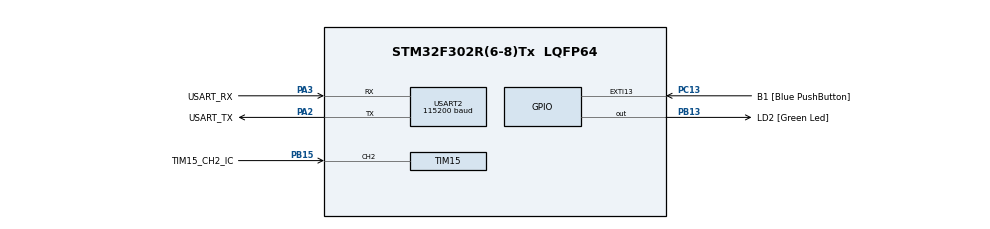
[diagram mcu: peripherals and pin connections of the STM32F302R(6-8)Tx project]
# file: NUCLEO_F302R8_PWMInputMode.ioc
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Mcu.Family=STM32F3
Mcu.Name=STM32F302R(6-8)Tx
Mcu.Package=LQFP64
NVIC.PriorityGroup=NVIC_PRIORITYGROUP_0
NVIC.TIM1_BRK_TIM15_IRQn=true\:0\:0\:false\:false\:false\:true\:true
PA13.GPIO_Label=TMS
PA13.Mode=Trace_Asynchronous_SW
PA13.Signal=SYS_JTMS-SWDIO
PA14.GPIO_Label=TCK
PA14.Mode=Trace_Asynchronous_SW
PA14.Signal=SYS_JTCK-SWCLK
PA2.GPIO_Label=USART_TX
PA2.GPIO_Mode=GPIO_MODE_AF_PP
PA2.GPIO_PuPd=GPIO_NOPULL
PA2.GPIO_Speed=GPIO_SPEED_FREQ_LOW
PA2.Mode=Asynchronous
PA2.Signal=USART2_TX
PA3.GPIO_Label=USART_RX
PA3.GPIO_Mode=GPIO_MODE_AF_PP
PA3.GPIO_PuPd=GPIO_NOPULL
PA3.GPIO_Speed=GPIO_SPEED_FREQ_LOW
PA3.Mode=Asynchronous
PA3.Signal=USART2_RX
PB13.GPIO_Label=LD2 [Green Led]
PB13.Signal=GPIO_Output
PB15.GPIO_Label=TIM15_CH2_IC
PB15.GPIO_Speed=GPIO_SPEED_FREQ_HIGH
PB15.Signal=S_TIM15_CH2
PB3.GPIO_Label=SWO
PB3.Mode=Trace_Asynchronous_SW
PB3.Signal=SYS_JTDO-TRACESWO
PC13.GPIO_Label=B1 [Blue PushButton]
PC13.GPIO_ModeDefaultEXTI=GPIO_MODE_IT_FALLING
PC13.GPIO_PuPd=GPIO_PULLUP
PC13.Signal=GPXTI13
PC14\ -\ OSC32_IN.Mode=LSE-External-Oscillator
PC14\ -\ OSC32_IN.Signal=RCC_OSC32_IN
PC15\ -\ OSC32_OUT.Mode=LSE-External-Oscillator
PC15\ -\ OSC32_OUT.Signal=RCC_OSC32_OUT
PF0-OSC_IN.Mode=HSE-External-Clock-Source
PF0-OSC_IN.Signal=RCC_OSC_IN
PF1-OSC_OUT.Signal=RCC_OSC_OUT
ProjectManager.HeapSize=0x200
ProjectManager.StackSize=0x400
ProjectManager.TargetToolchain=TrueSTUDIO
RCC.AHBFreq_Value=64000000
RCC.APB1CLKDivider=RCC_HCLK_DIV2
RCC.APB1Freq_Value=32000000
RCC.APB1TimFreq_Value=64000000
RCC.APB2Freq_Value=64000000
RCC.APB2TimFreq_Value=64000000
RCC.CortexFreq_Value=64000000
RCC.HCLKFreq_Value=64000000
RCC.HSE_VALUE=8000000
RCC.HSI_VALUE=8000000
RCC.PLLM=8
RCC.PLLMUL=RCC_PLL_MUL16
RCC.PLLN=336
RCC.PLLP=RCC_PLLP_DIV4
RCC.PLLQ=7
RCC.RCC_PLLsource_Clock_Source_FROM_HSE=RCC_HSE_PREDIV_DIV2
RCC.SYSCLKFreq_VALUE=64000000
RCC.SYSCLKSourceVirtual=RCC_SYSCLKSOURCE_PLLCLK
RCC.USBFreq_Value=64000000
SH.S_TIM15_CH2.0=TIM15_CH2,PWM_Input_2
TIM15.ClockDivision=TIM_CLOCKDIVISION_DIV1
TIM15.ICFilter_1=1
TIM15.ICFilter_2=1
TIM15.ICPolarity_1=TIM_INPUTCHANNELPOLARITY_FALLING
TIM15.Period=65535
TIM15.Prescaler=7
USART2.BaudRate=115200
USART2.VirtualMode-Asynchronous=VM_ASYNC
VP_TIM15_VS_ClockSourceINT.Mode=Internal
board=NUCLEO-F302R8

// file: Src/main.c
/* USER CODE BEGIN Header */
/*
 * @ 名称: main.c
 * @ 作者: SummerFalls
 * @ 日期: 2019-8-30
 * @ 版本: V1.0
 * @ 描述:
 * MIT License. Copyright (c) 2019 SummerFalls.
 */
/* USER CODE END Header */

#include "main.h"
#include "tim.h"
#include "usart.h"
#include "gpio.h"

/* USER CODE BEGIN Includes */
#include <stdint.h> /* 数据类型 */

#include <stdio.h>  /* 输入输出 */
#include <stdlib.h> /* 常用实用函数 */
#include <stddef.h> /* 常用定义 */
#include <string.h> /* 字符串处理 */
/* USER CODE END Includes */

/* USER CODE BEGIN PTD */
typedef struct {
    uint16_t TIM15_CC1;
    uint16_t TIM15_CC2;
} TIM_IT_CNT_TypeDef;

typedef struct {
    uint32_t Period;
    uint32_t PulseWidth;
    uint32_t DutyCycle;
    uint32_t Frequency;
    uint32_t CC1_OverflowCnt;
    uint32_t CC2_OverflowCnt;
} PWM_IN_TypeDef;
/* USER CODE END PTD */

/* USER CODE BEGIN PD */
#define F_SAMPLING 8000000UL /* PWM输入捕获采样频率_单位: Hz */
/* USER CODE END PD */

/* USER CODE BEGIN PV */
TIM_IT_CNT_TypeDef g_TIM_IT_CNT = { 0 };
PWM_IN_TypeDef g_PWM_IN = { 0 };
LL_RCC_ClocksTypeDef RCC_Clocks = { 0 };
uint32_t g_Cnt = 0;
/* USER CODE END PV */

void SystemClock_Config(void);

/* USER CODE BEGIN 0 */
void GTek_PWM_InputMode_Init(void) {
    LL_TIM_CC_EnableChannel(TIM15, LL_TIM_CHANNEL_CH1);
    LL_TIM_CC_EnableChannel(TIM15, LL_TIM_CHANNEL_CH2);

    LL_TIM_EnableCounter(TIM15);

//    LL_TIM_DisableIT_UPDATE(TIM15);
    LL_TIM_EnableIT_UPDATE(TIM15);
    LL_TIM_EnableIT_CC1(TIM15);
    LL_TIM_EnableIT_CC2(TIM15);
}

/*******************************************************************************
 * @name   : TIM1_BRK_TIM15_IRQHandler
 * @brief  : TIM1_刹车__TIM15_PWM输入模式
 * @param  : void
 * @retval : void
 * @note   :
 *           PWM 输入模式_TI信号输入引脚为TIM15_CH2
 *           CH1_Indirect_下降沿触发_PWM高电平脉宽
 *           CH2___Direct_上升沿触发_PWM周期
 *
 *           以下请参照参考手册
 *           654页: CKD[1:0]位(Clock Division)
 *           665页：ICxF[3:0]位(Input Capture x Filter)
 *
 *           TIMx_CLK = HCLK / (Prescaler + 1) = 64 MHz / (7 + 1) = 8 MHz
 *           f(DTS) = TIMx_CLK / CKD = 8 MHz / 1 = 8 MHz
 *           因为 ICxF[3:0] = 1，所以：
 *           1. (ICxF[3:0] = 0   ) f(sampling) = f(DTS)
 *              (ICxF[3:0] = 1~3 ) f(sampling) = TIMx_CLK
 *              (ICxF[3:0] = 4~15) f(sampling) = f(DTS) / Y
 *           2. 连续检测周期数 N = 2
 *
 *           采样周期宽度 = 1s / f(sampling) = 0.125 us
 *           连续采样周期宽度 = 采样周期宽度 * N = 0.25 us
 *           所以如果输入电平信号宽度小于 0.25 us 时，会被滤除，不被采样
 *
 *           假设输入的PWM占空比精度为：1%
 *           则必须满足输入的PWM_Period >= 0.25 us * 100 = 25 us
 *           即理论允许采样的最大PWM频率为：40 KHz
 *
 *           PWM_Freq = f(sampling) / g_PWM_IN.Period
 *           PWM_DutyCycle = g_PWM_IN.PulseWidth / g_PWM_IN.Period
 *
 *           测试输入PWM 8 Hz ~ 10 KHz
 *******************************************************************************/
void TIM1_BRK_TIM15_IRQHandler(void) {
    if ((LL_TIM_IsActiveFlag_UPDATE(TIM15) != RESET) && (LL_TIM_IsEnabledIT_UPDATE(TIM15) != RESET)) {
        LL_TIM_ClearFlag_UPDATE(TIM15);

//        printf("\r\n__UPDATE 溢出__\r\n");

        if (LL_TIM_IsActiveFlag_CC1(TIM15) != SET) {
            g_PWM_IN.CC1_OverflowCnt++;
        }

        if (LL_TIM_IsActiveFlag_CC2(TIM15) != SET) {
            g_PWM_IN.CC2_OverflowCnt++;
        }
    }

    if ((LL_TIM_IsActiveFlag_CC1(TIM15) != RESET) && (LL_TIM_IsEnabledIT_CC1(TIM15) != RESET)) {
        LL_TIM_ClearFlag_CC1(TIM15);

//        g_TIM_IT_CNT.TIM15_CC1++;
        g_PWM_IN.PulseWidth = (LL_TIM_IC_GetCaptureCH1(TIM15) + 1) + 65536 * g_PWM_IN.CC1_OverflowCnt;
    }

    if ((LL_TIM_IsActiveFlag_CC2(TIM15) != RESET) && (LL_TIM_IsEnabledIT_CC2(TIM15) != RESET)) {
        LL_TIM_ClearFlag_CC2(TIM15);

//        g_TIM_IT_CNT.TIM15_CC2++;

        g_PWM_IN.Period = (LL_TIM_IC_GetCaptureCH2(TIM15) + 1) + 65536 * g_PWM_IN.CC2_OverflowCnt;

        if (g_PWM_IN.PulseWidth <= g_PWM_IN.Period) {
            g_PWM_IN.DutyCycle = (g_PWM_IN.PulseWidth * 100) / g_PWM_IN.Period;
            g_PWM_IN.Frequency = F_SAMPLING / g_PWM_IN.Period;

//            printf("%lu 占空比：\t%lu %%\t频率：\t%lu Hz\r\n", g_Cnt++, g_PWM_IN.DutyCycle, g_PWM_IN.Frequency);
        } else {
            g_PWM_IN.DutyCycle = 0;
            g_PWM_IN.Frequency = 0;
        }

        g_PWM_IN.CC2_OverflowCnt = 0;
        g_PWM_IN.CC1_OverflowCnt = 0;
    }

    if ((LL_TIM_IsActiveFlag_CC1OVR(TIM15) != RESET) && (LL_TIM_IsEnabledIT_CC1(TIM15) != RESET)) {
        LL_TIM_ClearFlag_CC1OVR(TIM15);

        g_TIM_IT_CNT.TIM15_CC1++;

//        printf("\r\n__CC1 捕获溢出__\r\n");
    }

    if ((LL_TIM_IsActiveFlag_CC2OVR(TIM15) != RESET) && (LL_TIM_IsEnabledIT_CC2(TIM15) != RESET)) {
        LL_TIM_ClearFlag_CC2OVR(TIM15);

        g_TIM_IT_CNT.TIM15_CC2++;

//        printf("\r\n__CC2 捕获溢出__\r\n");
    }
}
/* USER CODE END 0 */

int main(void) {

    /* MCU Configuration--------------------------------------------------------*/

    /* Reset of all peripherals, Initializes the Flash interface and the Systick. */

    LL_APB2_GRP1_EnableClock(LL_APB2_GRP1_PERIPH_SYSCFG);
    LL_APB1_GRP1_EnableClock(LL_APB1_GRP1_PERIPH_PWR);

    NVIC_SetPriorityGrouping(NVIC_PRIORITYGROUP_0);

    /* System interrupt init*/

    /* Configure the system clock */
    SystemClock_Config();

    /* Initialize all configured peripherals */
    MX_GPIO_Init();
    MX_TIM15_Init();
    MX_USART2_UART_Init();
    /* USER CODE BEGIN 2 */
    LL_RCC_GetSystemClocksFreq(&RCC_Clocks);

    printf("------------ CLK Freq ------------\r\n");
    printf("SYSCLK_Frequency:\t%lu MHz\r\n", RCC_Clocks.SYSCLK_Frequency / 1000000);
    printf("HCLK_Frequency:\t\t%lu MHz\r\n", RCC_Clocks.HCLK_Frequency / 1000000);
    printf("PCLK1_Frequency:\t%lu MHz\r\n", RCC_Clocks.PCLK1_Frequency / 1000000);
    printf("PCLK2_Frequency:\t%lu MHz\r\n", RCC_Clocks.PCLK2_Frequency / 1000000);
    printf("----------------------------------\r\n\r\n\r\n");

    GTek_PWM_InputMode_Init();
    /* USER CODE END 2 */

    /* Infinite loop */
    /* USER CODE BEGIN WHILE */
    while (1) {
        LL_mDelay(100);
        printf("%lu 占空比：\t%lu %%\t频率：\t%lu Hz\r\n", g_Cnt++, g_PWM_IN.DutyCycle, g_PWM_IN.Frequency);
        /* USER CODE END WHILE */

    }
}

void SystemClock_Config(void) {
    LL_FLASH_SetLatency(LL_FLASH_LATENCY_2);

    if (LL_FLASH_GetLatency() != LL_FLASH_LATENCY_2) {
        Error_Handler();
    }
    LL_RCC_HSI_Enable();

    /* Wait till HSI is ready */
    while (LL_RCC_HSI_IsReady() != 1) {

    }
    LL_RCC_HSI_SetCalibTrimming(16);
    LL_RCC_PLL_ConfigDomain_SYS(LL_RCC_PLLSOURCE_HSI_DIV_2, LL_RCC_PLL_MUL_16);
    LL_RCC_PLL_Enable();

    /* Wait till PLL is ready */
    while (LL_RCC_PLL_IsReady() != 1) {

    }
    LL_RCC_SetAHBPrescaler(LL_RCC_SYSCLK_DIV_1);
    LL_RCC_SetAPB1Prescaler(LL_RCC_APB1_DIV_2);
    LL_RCC_SetAPB2Prescaler(LL_RCC_APB1_DIV_1);
    LL_RCC_SetSysClkSource(LL_RCC_SYS_CLKSOURCE_PLL);

    /* Wait till System clock is ready */
    while (LL_RCC_GetSysClkSource() != LL_RCC_SYS_CLKSOURCE_STATUS_PLL) {

    }
    LL_Init1msTick(64000000);
    LL_SYSTICK_SetClkSource(LL_SYSTICK_CLKSOURCE_HCLK);
    LL_SetSystemCoreClock(64000000);
    LL_RCC_SetTIMClockSource(LL_RCC_TIM15_CLKSOURCE_PCLK2);
}

void Error_Handler(void) {
}

/************************ (C) COPYRIGHT STMicroelectronics *****END OF FILE****/
